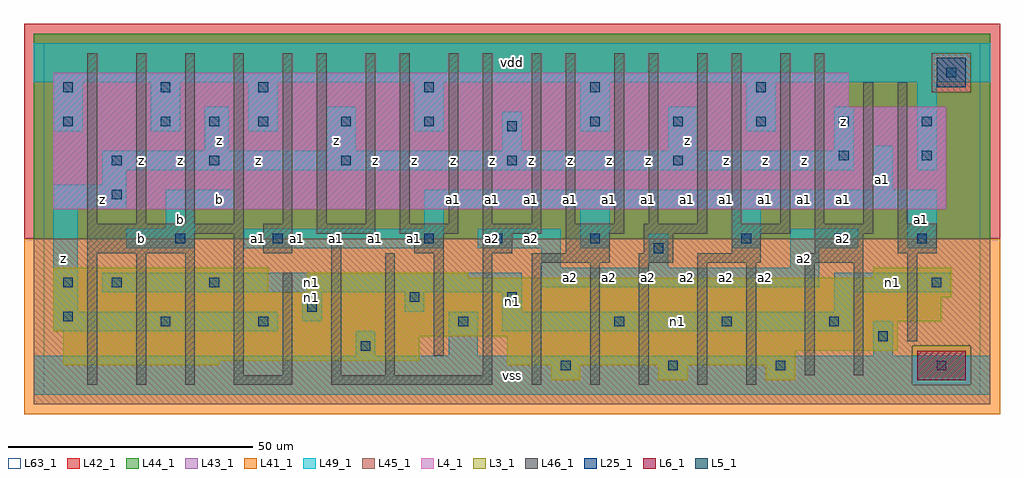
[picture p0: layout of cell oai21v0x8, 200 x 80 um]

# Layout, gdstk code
import gdstk
lib = gdstk.Library(unit=1e-6, precision=1e-09)
def R(c, l, rs):  # rectangles x0, y0, x1, y1
    for r in rs: c.add(gdstk.rectangle(r[:2], r[2:], *l))
def A(c, l, x, y, w, h, nx, ny, dx, dy):  # array of equal rectangles
    R(c, l, [(x+i*dx, y+j*dy, x+i*dx+w, y+j*dy+h) for i in range(nx) for j in range(ny)])
L3_1 = (3, 1)
L4_1 = (4, 1)
L5_1 = (5, 1)
L6_1 = (6, 1)
L25_1 = (25, 1)
L41_1 = (41, 1)
L42_1 = (42, 1)
L43_1 = (43, 1)
L44_1 = (44, 1)
L45_1 = (45, 1)
L46_1 = (46, 1)
L49_1 = (49, 1)
L63_1 = (63, 1)

oai21v0x8 = lib.new_cell('oai21v0x8')
A(oai21v0x8, L3_1, 104, 3, 6, 3, 3, 1, 22, 0)
R(oai21v0x8, L3_1, [(4,6,36,7), (95,6,154,9), (4,7,77,12), (95,9,175,12), (4,12,175,13), (2,13,175,15), (2,15,184,20), (2,20,186,21), (2,21,46,26), (54,21,186,24), (54,24,87,25), (170,24,186,26)])
R(oai21v0x8, L4_1, [(2,38,185,59), (2,59,165,66)])
R(oai21v0x8, L5_1, [(183,63,189,69)])
R(oai21v0x8, L6_1, [(179,3,189,9), (179,3,189,9)])
A(oai21v0x8, L25_1, 106, 5, 2, 2, 3, 1, 22, 0)
A(oai21v0x8, L25_1, 117, 14, 2, 2, 3, 1, 22, 0)
A(oai21v0x8, L25_1, 61, 47, 2, 2, 3, 1, 34, 0)
A(oai21v0x8, L25_1, 24, 55, 2, 2, 3, 1, 10, 0)
A(oai21v0x8, L25_1, 112, 55, 2, 2, 5, 1, 17, 0)
A(oai21v0x8, L25_1, 4, 62, 2, 2, 3, 1, 20, 0)
A(oai21v0x8, L25_1, 78, 62, 2, 2, 3, 1, 34, 0)
R(oai21v0x8, L25_1, [(183,5,185,7), (65,9,67,11), (171,11,173,13), (24,14,26,16), (44,14,46,16), (85,14,87,16), (4,15,6,17), (54,17,56,19), (75,19,77,21), (95,19,97,21), (4,22,6,24), (14,22,16,24), (34,22,36,24), (182,22,184,24), (125,29,127,31), (27,31,29,33), (47,31,49,33), (78,31,80,33), (92,31,94,33), (112,31,114,33), (143,31,145,33), (162,31,164,33), (179,31,181,33), (14,40,16,42), (14,47,16,49), (34,47,36,49), (163,48,165,50), (180,48,182,50), (95,54,97,56), (4,55,6,57), (61,55,63,57), (78,55,80,57), (185,65,187,67)])
R(oai21v0x8, L41_1, [(-4,-4,196,32)])
R(oai21v0x8, L42_1, [(-4,32,196,76)])
A(oai21v0x8, L43_1, 104, 3, 6, 3, 3, 1, 22, 0)
R(oai21v0x8, L43_1, [(179,3,189,9), (4,6,36,7), (95,6,154,9), (4,7,77,12), (95,9,175,12), (4,12,175,13), (2,13,175,15), (2,15,184,20), (2,20,186,21), (2,21,46,26), (54,21,186,24), (54,24,87,25), (170,24,186,26), (2,38,185,59), (2,59,165,66), (183,63,189,69)])
R(oai21v0x8, L44_1, [(178,2,190,10), (-2,32,194,62), (-2,62,182,70), (190,62,194,70), (-2,70,194,74)])
R(oai21v0x8, L45_1, [(-2,-2,194,2), (-2,2,178,10), (190,2,194,10), (-2,10,194,32), (182,62,190,70)])
A(oai21v0x8, L46_1, 9, 2, 2, 27, 3, 1, 10, 0)
A(oai21v0x8, L46_1, 56, 33, 12, 2, 4, 1, 17, 0)
A(oai21v0x8, L46_1, 9, 35, 2, 35, 5, 1, 10, 0)
R(oai21v0x8, L46_1, [(39,2,51,4), (59,2,92,4), (100,2,102,27), (112,2,114,27), (122,2,124,27), (134,2,136,27), (144,2,146,27), (39,4,41,33), (49,4,51,25), (59,4,61,33), (70,4,72,29), (90,4,92,29), (156,4,158,27), (166,4,168,27), (80,8,82,29), (177,11,179,29), (100,27,116,29), (122,27,129,29), (134,27,147,29), (156,27,168,29), (9,29,31,33), (45,29,51,35), (76,29,82,33), (90,29,96,33), (107,29,116,33), (123,29,129,33), (141,29,147,33), (158,29,168,33), (175,29,183,35), (9,33,41,35), (123,33,136,35), (141,33,153,35), (158,33,170,35), (56,35,58,70), (66,35,68,70), (73,35,75,70), (83,35,85,70), (90,35,92,70), (100,35,102,70), (107,35,109,70), (117,35,119,70), (124,35,126,70), (134,35,136,70), (141,35,143,70), (151,35,153,70), (158,35,160,70), (168,35,170,64), (175,35,177,64)])
A(oai21v0x8, L49_1, 2, 54, 6, 10, 3, 1, 20, 0)
A(oai21v0x8, L49_1, 76, 54, 6, 10, 3, 1, 34, 0)
R(oai21v0x8, L49_1, [(-2,0,194,8), (64,8,68,13), (83,8,89,17), (170,8,174,15), (2,13,48,17), (94,13,166,17), (53,15,57,21), (2,17,7,38), (74,17,78,21), (94,17,98,21), (162,17,166,21), (12,21,98,25), (162,21,186,25), (102,22,159,26), (102,26,106,30), (124,26,128,33), (153,26,159,30), (17,30,31,34), (41,30,82,34), (89,30,106,34), (110,30,116,38), (141,30,147,38), (153,30,167,34), (177,30,183,38), (25,34,31,38), (78,34,82,38), (2,38,17,43), (25,38,39,42), (78,38,183,42), (170,42,174,51), (12,43,17,46), (12,46,166,50), (179,46,183,64), (33,50,38,59), (58,50,64,59), (94,50,98,58), (128,50,134,59), (162,50,166,59), (-2,64,194,72)])
R(oai21v0x8, L63_1, [(0,0,192,72)])
oai21v0x8.add(gdstk.Label('z', (4,28), layer=49, texttype=1))
oai21v0x8.add(gdstk.Label('b', (20,32), layer=49, texttype=1))
oai21v0x8.add(gdstk.Label('z', (12,40), layer=49, texttype=1))
oai21v0x8.add(gdstk.Label('z', (20,48), layer=49, texttype=1))
oai21v0x8.add(gdstk.Label('n1', (55,20), layer=49, texttype=1))
oai21v0x8.add(gdstk.Label('a1', (60,32), layer=49, texttype=1))
oai21v0x8.add(gdstk.Label('a1', (52,32), layer=49, texttype=1))
oai21v0x8.add(gdstk.Label('a1', (44,32), layer=49, texttype=1))
oai21v0x8.add(gdstk.Label('b', (36,40), layer=49, texttype=1))
oai21v0x8.add(gdstk.Label('b', (28,36), layer=49, texttype=1))
oai21v0x8.add(gdstk.Label('z', (60,52), layer=49, texttype=1))
oai21v0x8.add(gdstk.Label('z', (44,48), layer=49, texttype=1))
oai21v0x8.add(gdstk.Label('z', (36,52), layer=49, texttype=1))
oai21v0x8.add(gdstk.Label('z', (28,48), layer=49, texttype=1))
oai21v0x8.add(gdstk.Label('a2', (92,32), layer=49, texttype=1))
oai21v0x8.add(gdstk.Label('a1', (76,32), layer=49, texttype=1))
oai21v0x8.add(gdstk.Label('a1', (68,32), layer=49, texttype=1))
oai21v0x8.add(gdstk.Label('a1', (92,40), layer=49, texttype=1))
oai21v0x8.add(gdstk.Label('a1', (84,40), layer=49, texttype=1))
oai21v0x8.add(gdstk.Label('z', (92,48), layer=49, texttype=1))
oai21v0x8.add(gdstk.Label('z', (84,48), layer=49, texttype=1))
oai21v0x8.add(gdstk.Label('z', (76,48), layer=49, texttype=1))
oai21v0x8.add(gdstk.Label('z', (68,48), layer=49, texttype=1))
oai21v0x8.add(gdstk.Label('vss', (96,4), layer=49, texttype=1))
oai21v0x8.add(gdstk.Label('a2', (124,24), layer=49, texttype=1))
oai21v0x8.add(gdstk.Label('a2', (116,24), layer=49, texttype=1))
oai21v0x8.add(gdstk.Label('a2', (108,24), layer=49, texttype=1))
oai21v0x8.add(gdstk.Label('n1', (55,23), layer=49, texttype=1))
oai21v0x8.add(gdstk.Label('n1', (96,19), layer=49, texttype=1))
oai21v0x8.add(gdstk.Label('a2', (100,32), layer=49, texttype=1))
oai21v0x8.add(gdstk.Label('a1', (124,40), layer=49, texttype=1))
oai21v0x8.add(gdstk.Label('a1', (116,40), layer=49, texttype=1))
oai21v0x8.add(gdstk.Label('a1', (108,40), layer=49, texttype=1))
oai21v0x8.add(gdstk.Label('a1', (100,40), layer=49, texttype=1))
oai21v0x8.add(gdstk.Label('z', (124,48), layer=49, texttype=1))
oai21v0x8.add(gdstk.Label('z', (116,48), layer=49, texttype=1))
oai21v0x8.add(gdstk.Label('z', (108,48), layer=49, texttype=1))
oai21v0x8.add(gdstk.Label('z', (100,48), layer=49, texttype=1))
oai21v0x8.add(gdstk.Label('vdd', (96,68), layer=49, texttype=1))
oai21v0x8.add(gdstk.Label('a2', (156,28), layer=49, texttype=1))
oai21v0x8.add(gdstk.Label('a2', (148,24), layer=49, texttype=1))
oai21v0x8.add(gdstk.Label('a2', (140,24), layer=49, texttype=1))
oai21v0x8.add(gdstk.Label('a2', (132,24), layer=49, texttype=1))
oai21v0x8.add(gdstk.Label('a1', (156,40), layer=49, texttype=1))
oai21v0x8.add(gdstk.Label('a1', (148,40), layer=49, texttype=1))
oai21v0x8.add(gdstk.Label('a1', (140,40), layer=49, texttype=1))
oai21v0x8.add(gdstk.Label('a1', (132,40), layer=49, texttype=1))
oai21v0x8.add(gdstk.Label('z', (156,48), layer=49, texttype=1))
oai21v0x8.add(gdstk.Label('z', (148,48), layer=49, texttype=1))
oai21v0x8.add(gdstk.Label('z', (140,48), layer=49, texttype=1))
oai21v0x8.add(gdstk.Label('z', (132,52), layer=49, texttype=1))
oai21v0x8.add(gdstk.Label('n1', (130,15), layer=49, texttype=1))
oai21v0x8.add(gdstk.Label('n1', (174,23), layer=49, texttype=1))
oai21v0x8.add(gdstk.Label('a2', (164,32), layer=49, texttype=1))
oai21v0x8.add(gdstk.Label('a1', (180,36), layer=49, texttype=1))
oai21v0x8.add(gdstk.Label('a1', (164,40), layer=49, texttype=1))
oai21v0x8.add(gdstk.Label('a1', (172,44), layer=49, texttype=1))
oai21v0x8.add(gdstk.Label('z', (164,56), layer=49, texttype=1))

lib.write_gds('oai21v0x8.gds')
